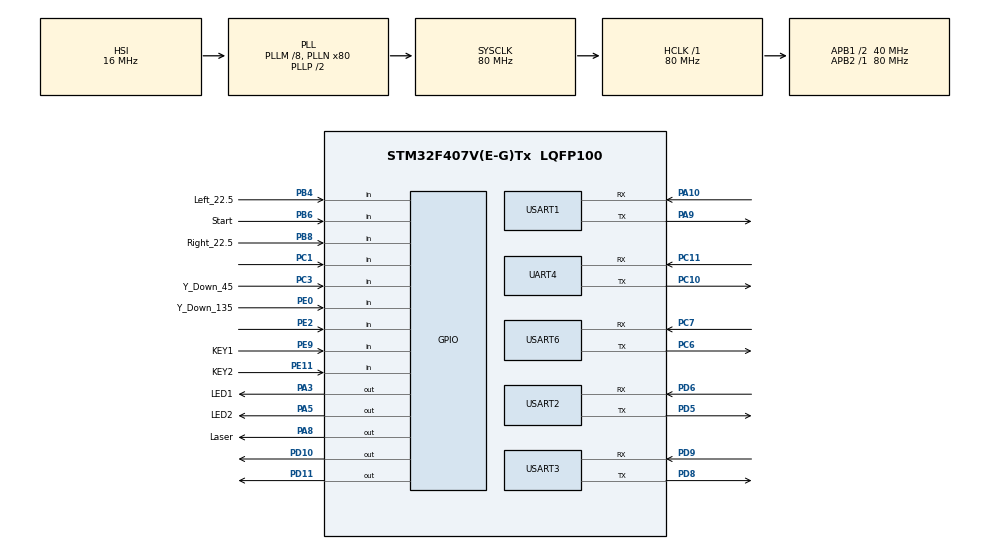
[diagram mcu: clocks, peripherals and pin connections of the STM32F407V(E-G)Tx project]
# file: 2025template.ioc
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Dma.Request0=USART6_RX
Dma.Request1=USART3_RX
Dma.Request2=USART2_RX
Dma.Request3=UART4_RX
Dma.UART4_RX.3.Direction=DMA_PERIPH_TO_MEMORY
Dma.UART4_RX.3.FIFOMode=DMA_FIFOMODE_DISABLE
Dma.UART4_RX.3.Instance=DMA1_Stream2
Dma.UART4_RX.3.MemDataAlignment=DMA_MDATAALIGN_BYTE
Dma.UART4_RX.3.MemInc=DMA_MINC_ENABLE
Dma.UART4_RX.3.Mode=DMA_NORMAL
Dma.UART4_RX.3.PeriphDataAlignment=DMA_PDATAALIGN_BYTE
Dma.UART4_RX.3.PeriphInc=DMA_PINC_DISABLE
Dma.UART4_RX.3.Priority=DMA_PRIORITY_LOW
Dma.USART2_RX.2.Direction=DMA_PERIPH_TO_MEMORY
Dma.USART2_RX.2.FIFOMode=DMA_FIFOMODE_DISABLE
Dma.USART2_RX.2.Instance=DMA1_Stream5
Dma.USART2_RX.2.MemDataAlignment=DMA_MDATAALIGN_BYTE
Dma.USART2_RX.2.MemInc=DMA_MINC_ENABLE
Dma.USART2_RX.2.Mode=DMA_NORMAL
Dma.USART2_RX.2.PeriphDataAlignment=DMA_PDATAALIGN_BYTE
Dma.USART2_RX.2.PeriphInc=DMA_PINC_DISABLE
Dma.USART2_RX.2.Priority=DMA_PRIORITY_LOW
Dma.USART3_RX.1.Direction=DMA_PERIPH_TO_MEMORY
Dma.USART3_RX.1.FIFOMode=DMA_FIFOMODE_DISABLE
Dma.USART3_RX.1.Instance=DMA1_Stream1
Dma.USART3_RX.1.MemDataAlignment=DMA_MDATAALIGN_BYTE
Dma.USART3_RX.1.MemInc=DMA_MINC_ENABLE
Dma.USART3_RX.1.Mode=DMA_NORMAL
Dma.USART3_RX.1.PeriphDataAlignment=DMA_PDATAALIGN_BYTE
Dma.USART3_RX.1.PeriphInc=DMA_PINC_DISABLE
Dma.USART3_RX.1.Priority=DMA_PRIORITY_LOW
Dma.USART6_RX.0.Direction=DMA_PERIPH_TO_MEMORY
Dma.USART6_RX.0.FIFOMode=DMA_FIFOMODE_DISABLE
Dma.USART6_RX.0.Instance=DMA2_Stream1
Dma.USART6_RX.0.MemDataAlignment=DMA_MDATAALIGN_BYTE
Dma.USART6_RX.0.MemInc=DMA_MINC_ENABLE
Dma.USART6_RX.0.Mode=DMA_NORMAL
Dma.USART6_RX.0.PeriphDataAlignment=DMA_PDATAALIGN_BYTE
Dma.USART6_RX.0.PeriphInc=DMA_PINC_DISABLE
Dma.USART6_RX.0.Priority=DMA_PRIORITY_LOW
Mcu.Family=STM32F4
Mcu.Name=STM32F407V(E-G)Tx
Mcu.Package=LQFP100
NVIC.DMA1_Stream1_IRQn=true\:0\:0\:false\:false\:true\:false\:true\:true
NVIC.DMA1_Stream2_IRQn=true\:0\:0\:false\:false\:true\:false\:true\:true
NVIC.DMA1_Stream5_IRQn=true\:0\:0\:false\:false\:true\:false\:true\:true
NVIC.DMA2_Stream1_IRQn=true\:0\:0\:false\:false\:true\:false\:true\:true
NVIC.PriorityGroup=NVIC_PRIORITYGROUP_4
NVIC.TIM2_IRQn=true\:0\:0\:false\:false\:true\:true\:true\:true
NVIC.UART4_IRQn=true\:0\:0\:false\:false\:true\:true\:true\:true
NVIC.USART1_IRQn=true\:0\:0\:false\:false\:true\:true\:true\:true
NVIC.USART2_IRQn=true\:0\:0\:false\:false\:true\:true\:true\:true
NVIC.USART3_IRQn=true\:0\:0\:false\:false\:true\:true\:true\:true
NVIC.USART6_IRQn=true\:0\:0\:false\:false\:true\:true\:true\:true
PA10.Mode=Asynchronous
PA10.Signal=USART1_RX
PA13.Mode=Serial_Wire
PA13.Signal=SYS_JTMS-SWDIO
PA14.Mode=Serial_Wire
PA14.Signal=SYS_JTCK-SWCLK
PA3.GPIO_Label=LED1
PA3.Signal=GPIO_Output
PA5.GPIO_Label=LED2
PA5.Signal=GPIO_Output
PA8.GPIO_Label=Laser
PA8.Signal=GPIO_Output
PA9.Mode=Asynchronous
PA9.Signal=USART1_TX
PB4.GPIO_Label=Left_22.5
PB4.GPIO_PuPd=GPIO_PULLUP
PB4.Signal=GPIO_Input
PB6.GPIO_Label=Start
PB6.GPIO_PuPd=GPIO_PULLUP
PB6.Signal=GPIO_Input
PB8.GPIO_Label=Right_22.5
PB8.GPIO_PuPd=GPIO_PULLUP
PB8.Signal=GPIO_Input
PC1.GPIO_PuPd=GPIO_PULLUP
PC1.Signal=GPIO_Input
PC10.Mode=Asynchronous
PC10.Signal=UART4_TX
PC11.Mode=Asynchronous
PC11.Signal=UART4_RX
PC3.GPIO_Label=Y_Down_45
PC3.GPIO_PuPd=GPIO_PULLUP
PC3.Signal=GPIO_Input
PC6.Mode=Asynchronous
PC6.Signal=USART6_TX
PC7.Mode=Asynchronous
PC7.Signal=USART6_RX
PD10.GPIO_Speed=GPIO_SPEED_FREQ_VERY_HIGH
PD10.PinState=GPIO_PIN_SET
PD10.Signal=GPIO_Output
PD11.GPIO_Speed=GPIO_SPEED_FREQ_VERY_HIGH
PD11.PinState=GPIO_PIN_SET
PD11.Signal=GPIO_Output
PD5.Mode=Asynchronous
PD5.Signal=USART2_TX
PD6.Mode=Asynchronous
PD6.Signal=USART2_RX
PD8.Mode=Asynchronous
PD8.Signal=USART3_TX
PD9.Mode=Asynchronous
PD9.Signal=USART3_RX
PE0.GPIO_Label=Y_Down_135
PE0.GPIO_PuPd=GPIO_PULLUP
PE0.Signal=GPIO_Input
PE11.GPIO_Label=KEY2
PE11.GPIO_PuPd=GPIO_PULLUP
PE11.Signal=GPIO_Input
PE2.GPIO_PuPd=GPIO_PULLUP
PE2.Signal=GPIO_Input
PE9.GPIO_Label=KEY1
PE9.GPIO_PuPd=GPIO_PULLUP
PE9.Signal=GPIO_Input
PH0-OSC_IN.Mode=HSE-External-Oscillator
PH0-OSC_IN.Signal=RCC_OSC_IN
PH1-OSC_OUT.Mode=HSE-External-Oscillator
PH1-OSC_OUT.Signal=RCC_OSC_OUT
ProjectManager.HeapSize=0x200
ProjectManager.StackSize=0x400
ProjectManager.TargetToolchain=MDK-ARM V5.32
RCC.48MHZClocksFreq_Value=40000000
RCC.AHBFreq_Value=80000000
RCC.APB1CLKDivider=RCC_HCLK_DIV2
RCC.APB1Freq_Value=40000000
RCC.APB1TimFreq_Value=80000000
RCC.APB2Freq_Value=80000000
RCC.APB2TimFreq_Value=80000000
RCC.CortexFreq_Value=80000000
RCC.HCLKFreq_Value=80000000
RCC.HSE_VALUE=25000000
RCC.HSI_VALUE=16000000
RCC.LSE_VALUE=32768
RCC.PLLM=8
RCC.PLLN=80
RCC.SYSCLKFreq_VALUE=80000000
RCC.SYSCLKSource=RCC_SYSCLKSOURCE_PLLCLK
RCC.VCOOutputFreq_Value=160000000
TIM2.Period=1000-1
TIM2.Prescaler=80-1
UART4.VirtualMode=Asynchronous
USART1.VirtualMode=VM_ASYNC
USART2.VirtualMode=VM_ASYNC
USART3.VirtualMode=VM_ASYNC
USART6.VirtualMode=VM_ASYNC
VP_TIM2_VS_ClockSourceINT.Mode=Internal
board=custom

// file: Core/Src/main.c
/* USER CODE BEGIN Header */
/**
 ******************************************************************************
 * @file           : main.c
 * @brief          : Main program body
 ******************************************************************************
 * @attention
 *
 * Copyright (c) 2025 STMicroelectronics.
 * All rights reserved.
 *
 * This software is licensed under terms that can be found in the LICENSE file
 * in the root directory of this software component.
 * If no LICENSE file comes with this software, it is provided AS-IS.
 *
 ******************************************************************************
 */
/* USER CODE END Header */
#include "main.h"
#include "dma.h"
#include "tim.h"
#include "usart.h"
#include "gpio.h"

/* USER CODE BEGIN Includes */
#include "bsp_system.h"
#include "app_freertos.h"
/* USER CODE END Includes */

/* USER CODE BEGIN PV */
// External declaration of UART receive buffers
extern uint8_t motor_x_buf[64];
extern uint8_t motor_y_buf[64];
extern uint8_t pi_rx_buf[64];
/* USER CODE END PV */

void SystemClock_Config(void);

int main(void)
{

  /* MCU Configuration--------------------------------------------------------*/

  /* Reset of all peripherals, Initializes the Flash interface and the Systick. */
  HAL_Init();

  /* Configure the system clock */
  SystemClock_Config();

  /* Initialize all configured peripherals */
  MX_GPIO_Init();
  MX_DMA_Init();
  MX_USART1_UART_Init();
  MX_USART2_UART_Init();
  MX_USART3_UART_Init();
  MX_USART6_UART_Init();
  MX_UART4_Init();
  MX_TIM2_Init();
  /* USER CODE BEGIN 2 */
  // schedule_init();   /* 协作调度器退役, 4 个周期槽由 FreeRTOS 任务接管 */
  //  OLED_Init();
  PID_INIT();
  Laser_Init(); // 初始化激光控制系统

  rt_ringbuffer_init(&ringbuffer_y, ringbuffer_pool_y, sizeof(ringbuffer_pool_y));
  rt_ringbuffer_init(&ringbuffer_x, ringbuffer_pool_x, sizeof(ringbuffer_pool_x));
  rt_ringbuffer_init(&ringbuffer_pi, ringbuffer_pool_pi, sizeof(ringbuffer_pool_pi));

  // Start UART DMA reception - using dedicated receive buffers
  HAL_UARTEx_ReceiveToIdle_DMA(&huart2, motor_x_buf, sizeof(motor_x_buf));
  HAL_UARTEx_ReceiveToIdle_DMA(&huart4, motor_y_buf, sizeof(motor_y_buf));
  HAL_UARTEx_ReceiveToIdle_DMA(&huart3, pi_rx_buf, sizeof(pi_rx_buf));
  HAL_UARTEx_ReceiveToIdle_DMA(&huart6, car_rx_buf, sizeof(car_rx_buf));

  Step_Motor_Init();

//  // 延长延时确保电机完全初始化
//  HAL_Delay(200); // 增加到1秒确保电机准备就绪

  /* 创建 FreeRTOS 任务(4 个周期槽 → 4 个任务) */
  app_freertos_init();

  /* USER CODE END 2 */

  /* Infinite loop */
  while (1)
  {

    /* USER CODE BEGIN 3 */
    vTaskStartScheduler();   /* 启动 FreeRTOS, 正常情况不返回 */
    Error_Handler();         /* 调度器异常返回(如堆内存不足)时停留于此 */
  }
  /* USER CODE END 3 */
}

void SystemClock_Config(void)
{
  RCC_OscInitTypeDef RCC_OscInitStruct = {0};
  RCC_ClkInitTypeDef RCC_ClkInitStruct = {0};

  /** Configure the main internal regulator output voltage
   */
  __HAL_RCC_PWR_CLK_ENABLE();
  __HAL_PWR_VOLTAGESCALING_CONFIG(PWR_REGULATOR_VOLTAGE_SCALE1);

  /** Initializes the RCC Oscillators according to the specified parameters
   * in the RCC_OscInitTypeDef structure.
   */
  RCC_OscInitStruct.OscillatorType = RCC_OSCILLATORTYPE_HSI;
  RCC_OscInitStruct.HSIState = RCC_HSI_ON;
  RCC_OscInitStruct.HSICalibrationValue = RCC_HSICALIBRATION_DEFAULT;
  RCC_OscInitStruct.PLL.PLLState = RCC_PLL_ON;
  RCC_OscInitStruct.PLL.PLLSource = RCC_PLLSOURCE_HSI;
  RCC_OscInitStruct.PLL.PLLM = 8;
  RCC_OscInitStruct.PLL.PLLN = 80;
  RCC_OscInitStruct.PLL.PLLP = RCC_PLLP_DIV2;
  RCC_OscInitStruct.PLL.PLLQ = 4;
  if (HAL_RCC_OscConfig(&RCC_OscInitStruct) != HAL_OK)
  {
    Error_Handler();
  }

  /** Initializes the CPU, AHB and APB buses clocks
   */
  RCC_ClkInitStruct.ClockType = RCC_CLOCKTYPE_HCLK | RCC_CLOCKTYPE_SYSCLK | RCC_CLOCKTYPE_PCLK1 | RCC_CLOCKTYPE_PCLK2;
  RCC_ClkInitStruct.SYSCLKSource = RCC_SYSCLKSOURCE_PLLCLK;
  RCC_ClkInitStruct.AHBCLKDivider = RCC_SYSCLK_DIV1;
  RCC_ClkInitStruct.APB1CLKDivider = RCC_HCLK_DIV2;
  RCC_ClkInitStruct.APB2CLKDivider = RCC_HCLK_DIV1;

  if (HAL_RCC_ClockConfig(&RCC_ClkInitStruct, FLASH_LATENCY_2) != HAL_OK)
  {
    Error_Handler();
  }
}

void Error_Handler(void)
{
  __disable_irq();
  while (1)
  {
  }
}
